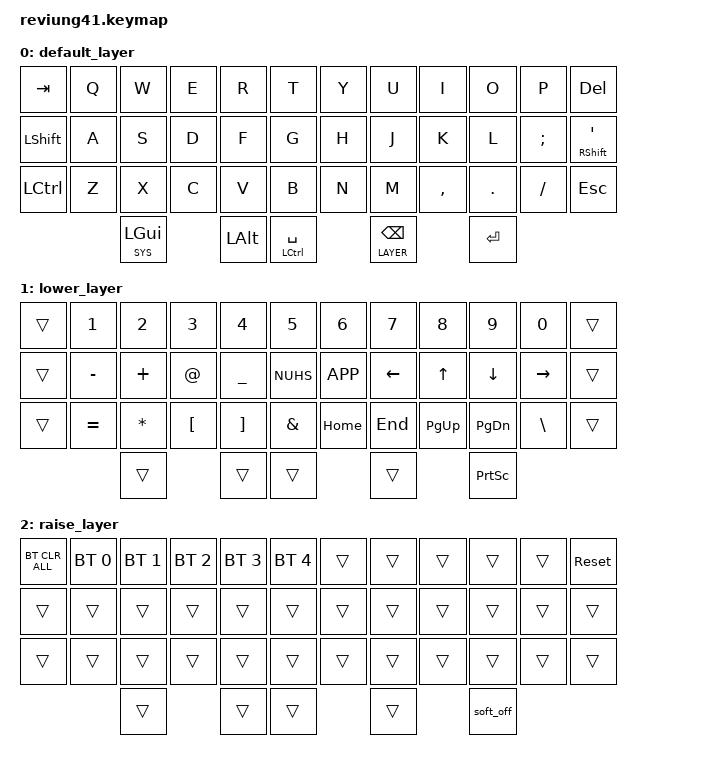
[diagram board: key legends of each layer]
/*
 * Copyright (c) 2020 The ZMK Contributors
 *
 * SPDX-License-Identifier: MIT
 */

#include <behaviors.dtsi>
#include <dt-bindings/zmk/keys.h>
#include <dt-bindings/zmk/bt.h>

#define DEFAULT 0
#define LAYER   1
#define SYS     2


&mt {
    tapping-term-ms = <180>;
    flavor = "tap-preferred";
    quick-tap-ms = <110>;
    global-quick-tap;
};

&lt {
    tapping-term-ms = <180>;
    flavor = "tap-preferred";
    quick-tap-ms = <110>;
};

&soft_off {
    hold-time-ms = <3000>; // Only turn off if the key is held for 3 seconds or longer.
};


/ {
        keymap {
                compatible = "zmk,keymap";

                default_layer {
// -------------------------------------------------------------------------------------
// |  TAB |  Q  |  W  |  E  |  R  |  T  |     |  Y  |  U   |  I  |  O  |  P  |  DEL  |
// | SHFT |  A  |  S  |  D  |  F  |  G  |     |  H  |  J   |  K  |  L  |  ;  |   '   |
// | CTRL |  Z  |  X  |  C  |  V  |  B  |     |  N  |  M   |  ,  |  .  |  /  |  ESC  |
//                 | LGUI.sys | ALT |  SPC.CTRL  | BKSPC.LAYER  | ENT |

                        bindings = <
   &kp TAB     &kp Q   &kp W   &kp E   &kp R   &kp T           &kp Y   &kp U    &kp I       &kp O     &kp P      &kp DEL
   &kp LSHFT   &kp A   &kp S   &kp D   &kp F   &kp G           &kp H   &kp J    &kp K       &kp L     &kp SEMI   &mt RSHFT SQT
   &kp LCTL    &kp Z   &kp X   &kp C   &kp V   &kp B           &kp N   &kp M    &kp COMMA   &kp DOT   &kp FSLH   &kp ESC
                     &lt SYS LGUI    &kp LALT     &mt LCTL SPACE    &lt LAYER BSPC     &kp ENTER
                        >;
                };

                lower_layer {
// ----------------------------------------------------------------------------
// |    |  1  |  2  |  3  |  4  |  5  |      |  6  |   7  |   8  |  9   |   0   |     |
// |    |  -  |  +  |  _  |  @  |  #  |      | APP | left |  up  | down | right |     |
// |    |  =  |  *  |  [  |  ]  |  &  |      | HOME | END | PGUP | PGDN |   \   |     |
//                       |     |     |        |    | PRINTSCREEN |

                        bindings = <
   &trans  &kp N1      &kp N2     &kp N3     &kp N4    &kp N5              &kp N6     &kp N7    &kp N8       &kp N9       &kp N0     &trans
   &trans  &kp MINUS   &kp PLUS   &kp AT     &kp UNDER &kp NUHS            &kp K_APP  &kp LEFT  &kp UP       &kp DOWN     &kp RIGHT  &trans
   &trans  &kp EQUAL   &kp ASTRK  &kp LBKT   &kp RBKT  &kp AMPS            &kp HOME   &kp END   &kp PG_UP    &kp PG_DN    &kp BSLH   &trans
                                     &trans      &trans          &trans        &trans      &kp PSCRN
                        >;
                };

                raise_layer {
// -------work it out -----------------------------------------------------------------------------
// |    |     |     |     |     |     |   |     |     |     |     |     |      |
// |    |     |     |     |     |     |   |     |     |     |     |     |      |
// |    |     |     |     |     |     |   |     |     |     |     |     |      |
//                       |     |     |     |     |     |

                        bindings = <
  &bt BT_CLR_ALL   &bt BT_SEL 0     &bt BT_SEL 1    &bt BT_SEL 2    &bt BT_SEL 3    &bt BT_SEL 4             &trans  &trans  &trans  &trans  &trans  &sys_reset
  &trans           &trans           &trans          &trans          &trans          &trans                   &trans  &trans  &trans  &trans  &trans  &trans                                
  &trans           &trans           &trans          &trans          &trans          &trans                   &trans  &trans  &trans  &trans  &trans  &trans
                                                                          &trans      &trans       &trans        &trans       &soft_off
                        >;
                };
        };
};
